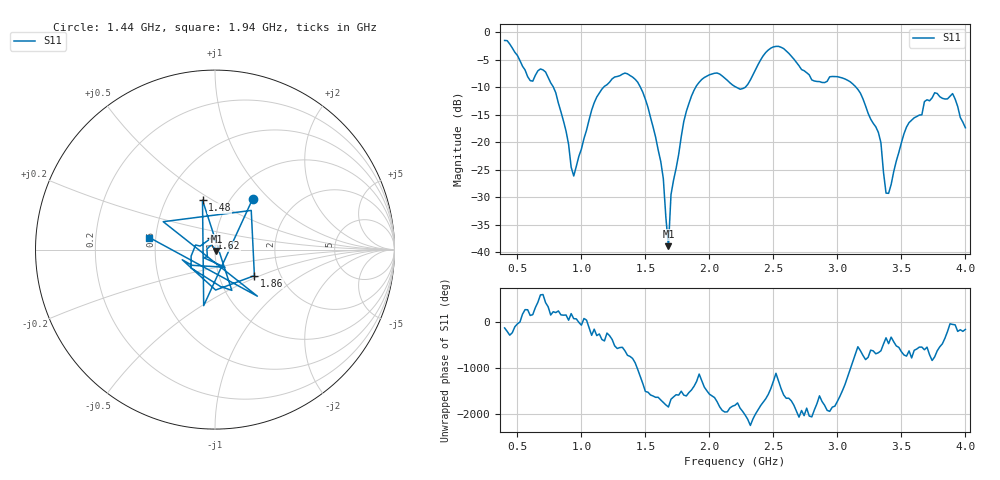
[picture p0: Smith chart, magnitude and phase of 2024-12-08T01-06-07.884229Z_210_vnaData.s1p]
!Created with skrf (http://scikit-rf.org).
# Hz S RI R 50.0
!freq ReS11 ImS11
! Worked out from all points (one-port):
!   181 points, 400 MHz to 4 GHz, reference 50 ohm
!   lowest |S11| = -38.9 dB at 1.68 GHz (marker M1), VSWR 1.02, Z = 50.8 - j0.802 ohm
!   |S11| at or under -10 dB: 781.6 MHz to 1.173 GHz (391.6 MHz wide, 40.1 % of centre); 1.461 GHz to 1.893 GHz (431.5 MHz wide, 25.7 % of centre); 3.146 GHz to end of sweep (the widest 3 of 4)
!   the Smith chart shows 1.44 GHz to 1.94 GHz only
!   S11 on the Smith chart (normalised r, x): 1.44 GHz: 1.24, +0.80; 1.48 GHz: 0.75, +0.45; 1.62 GHz: 0.95, +0.12; 1.86 GHz: 1.48, -0.46; 1.94 GHz: 0.46, +0.07
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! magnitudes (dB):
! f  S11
! 400 MHz  -1.5
! 600 MHz  -8.8
! 720 MHz  -7.2
! 860 MHz  -16.1
! 940 MHz  -26.1
! 1.12 GHz  -11.8
! 1.3 GHz  -7.9
! 1.44 GHz  -9.1
! 1.48 GHz  -10.9
! 1.62 GHz  -23.5
! 1.64 GHz  -26.6
! 1.68 GHz  -38.9
! 1.7 GHz  -29.5
! 1.76 GHz  -22.2
! 1.86 GHz  -11.6
! 1.94 GHz  -8.6
! 2.2 GHz  -9.9
! 2.28 GHz  -10.0
! 2.5 GHz  -2.7
! 2.66 GHz  -4.9
! 2.82 GHz  -8.9
! 3.1 GHz  -9.0
! 3.32 GHz  -18.2
! 3.38 GHz  -29.2
! 3.56 GHz  -16.4
! 3.76 GHz  -11.0
! 3.9 GHz  -11.1
! 4 GHz  -17.4
